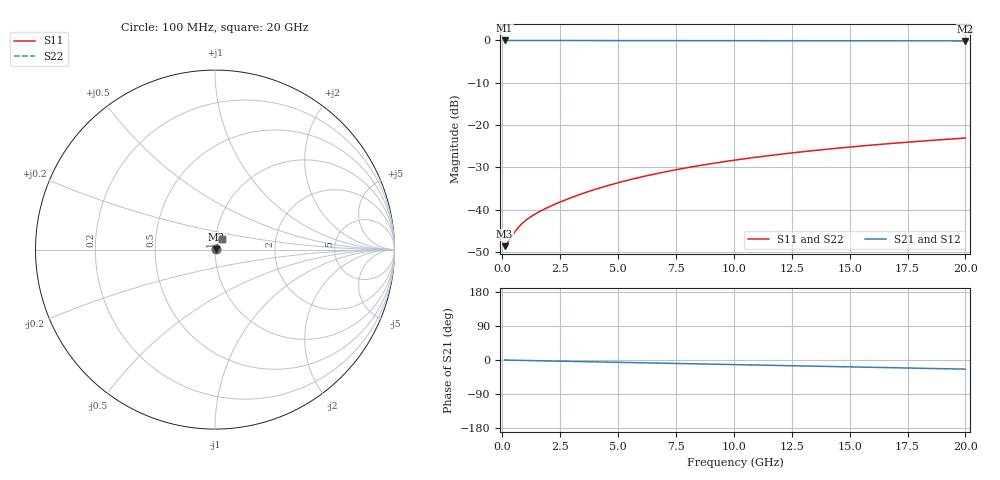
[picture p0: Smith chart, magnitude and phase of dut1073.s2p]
! Touchstone file exported from HFSS 2026.1.0
!  File:  C:/ffzhzh/LocalFiles/Ansys_Project_Files/temp_train_BSMRDL_1073_1783174330_55132.aedt
!  Generated:  10:13:19 PM Jul  4, 2026
!  Design:  BSMRDL
!  Project:  temp_train_BSMRDL_1073_1783174330_55132
! Variables:
!  h_bsmrdl = 2.11um
!  h_ox = 20um
!  h_rdl = 5um
!  h_sub = 80um
!  h_tmrdl = 5um
!  h_tsv = 80um
!  h_via = 3um
!  l_bsmrdl = 414.03um
!  l_sub = 814.03um
!  l_tmrdl = 200um
!  m_sub = 200um
!  pitch = 26.17um
!  r_tsv = 6um
!  s_tmrdl = 10um
!  w_bsmrdl = 21.4um
!  w_sub = 500um
!  w_tmrdl = 12um
!  x_tsv_center1 = 206um
!  x_tsv_center2 = 641.43um
!  x_tsv_center3 = 853.43um
!  x_tsv_center4 = 1288.86um
!  x_tsv_center5 = 1500.86um
!  x_tsv_center6 = 1936.29um
# GHz S MA R 50.000000
! Terminal data exported
! Port[1] = BSM_RDL1_1_T1
! Port[2] = BSM_RDL1_1_T2
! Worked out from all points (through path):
!   200 points, 100 MHz to 20 GHz, reference 50 ohm
!   highest |S21| = -0.03 dB at 100 MHz (marker M1); lowest = -0.1 dB at 20 GHz (marker M2)
!   group delay of S21, straight-line fit = 3.34 ps
!   lowest |S11| = -48.6 dB at 100 MHz (marker M3), VSWR 1.01, Z = 50.4 + j0.0745 ohm
!   |S11| at or under -10 dB: start of sweep to end of sweep
!   |S22| runs from -48.6 to -23.1 dB; largest |S21 - S12| = 5.9e-15
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0.1  0.003697 11.5  0.9964 -0.1  0.9964 -0.1  0.003697 11.5
! Gamma 0 0 0 0
! Port Impedance 50 0 50 0
0.2  0.003951 20.5  0.9962 -0.3  0.9962 -0.3  0.003956 20.3
0.5  0.005265 36.2  0.9956 -0.7  0.9956 -0.7  0.005262 36.1
0.6  0.005735 38.9  0.9954 -0.8  0.9954 -0.8  0.00573 38.8
0.7  0.006188 40.8  0.9951 -0.9  0.9951 -0.9  0.006182 40.7
0.9  0.007025 43.6  0.9948 -1.2  0.9948 -1.2  0.007018 43.6
1.2  0.008132 46.6  0.9944 -1.5  0.9944 -1.5  0.008126 46.6
1.6  0.009453 49.9  0.9941 -2.0  0.9941 -2.0  0.009449 49.9
2.1  0.01103 53.5  0.9938 -2.6  0.9938 -2.6  0.01103 53.5
2.8  0.01327 57.5  0.9935 -3.5  0.9935 -3.5  0.01327 57.5
3.5  0.0156 60.4  0.9933 -4.3  0.9933 -4.3  0.0156 60.4
4.2  0.01798 62.5  0.993 -5.2  0.993 -5.2  0.01798 62.4
5  0.02077 64.0  0.9927 -6.1  0.9927 -6.1  0.02076 63.9
5.9  0.02393 64.9  0.9924 -7.2  0.9924 -7.2  0.02393 64.9
6.8  0.02711 65.4  0.992 -8.3  0.992 -8.3  0.02711 65.3
8.4  0.03273 65.3  0.9913 -10.3  0.9913 -10.3  0.03273 65.3
10.1  0.03863 64.5  0.9904 -12.3  0.9904 -12.3  0.03862 64.5
11.7  0.04406 63.4  0.9896 -14.2  0.9896 -14.2  0.04406 63.4
13.4  0.04969 62.0  0.9886 -16.3  0.9886 -16.3  0.04968 61.9
15  0.05484 60.5  0.9876 -18.2  0.9876 -18.2  0.05484 60.4
16.7  0.06016 58.8  0.9866 -20.2  0.9866 -20.2  0.06015 58.8
20  0.07001 55.4  0.9846 -24.1  0.9846 -24.1  0.07001 55.4
